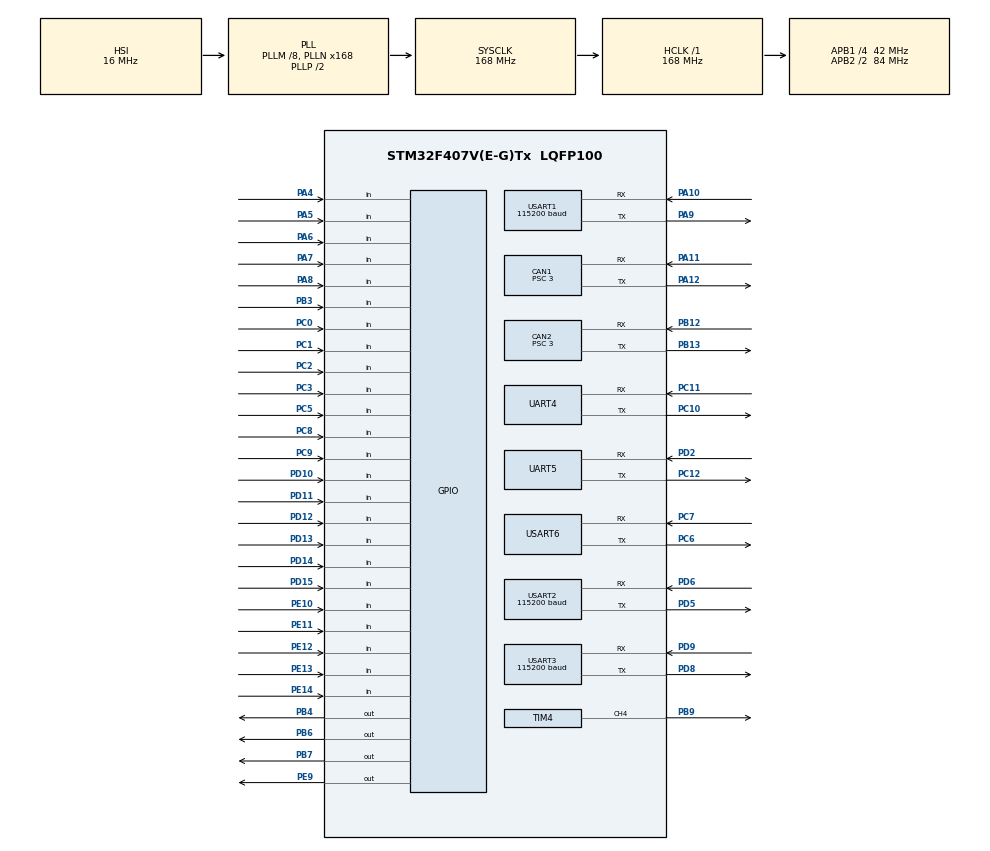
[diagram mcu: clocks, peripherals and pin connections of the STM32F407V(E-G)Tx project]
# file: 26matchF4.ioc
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CAN1.BS1=CAN_BS1_10TQ
CAN1.BS2=CAN_BS2_3TQ
CAN1.CalculateBaudRate=1000000
CAN1.CalculateTimeBit=1000
CAN1.CalculateTimeQuantum=71.42857142857143
CAN1.Prescaler=3
CAN2.BS1=CAN_BS1_10TQ
CAN2.BS2=CAN_BS2_3TQ
CAN2.CalculateBaudRate=1000000
CAN2.CalculateTimeBit=1000
CAN2.CalculateTimeQuantum=71.42857142857143
CAN2.Prescaler=3
Dma.Request0=USART2_RX
Dma.USART2_RX.0.Direction=DMA_PERIPH_TO_MEMORY
Dma.USART2_RX.0.FIFOMode=DMA_FIFOMODE_DISABLE
Dma.USART2_RX.0.Instance=DMA1_Stream5
Dma.USART2_RX.0.MemDataAlignment=DMA_MDATAALIGN_BYTE
Dma.USART2_RX.0.MemInc=DMA_MINC_ENABLE
Dma.USART2_RX.0.Mode=DMA_NORMAL
Dma.USART2_RX.0.PeriphDataAlignment=DMA_PDATAALIGN_BYTE
Dma.USART2_RX.0.PeriphInc=DMA_PINC_DISABLE
Dma.USART2_RX.0.Priority=DMA_PRIORITY_LOW
Mcu.Family=STM32F4
Mcu.Name=STM32F407V(E-G)Tx
Mcu.Package=LQFP100
NVIC.CAN1_RX0_IRQn=true\:1\:0\:true\:false\:true\:true\:true\:true
NVIC.CAN2_RX0_IRQn=true\:0\:0\:false\:false\:true\:true\:true\:true
NVIC.CAN2_RX1_IRQn=true\:0\:0\:false\:false\:true\:true\:true\:true
NVIC.DMA1_Stream5_IRQn=true\:0\:0\:false\:false\:true\:false\:true\:true
NVIC.PriorityGroup=NVIC_PRIORITYGROUP_4
NVIC.TIM2_IRQn=true\:1\:0\:true\:false\:true\:true\:true\:true
NVIC.TIM3_IRQn=true\:1\:0\:true\:false\:true\:true\:true\:true
NVIC.TIM4_IRQn=true\:0\:0\:false\:false\:true\:true\:true\:true
NVIC.UART4_IRQn=true\:0\:0\:true\:false\:true\:true\:true\:true
NVIC.USART1_IRQn=true\:1\:0\:true\:false\:true\:true\:true\:true
NVIC.USART2_IRQn=true\:0\:0\:true\:false\:true\:true\:true\:true
NVIC.USART3_IRQn=true\:0\:0\:false\:false\:true\:true\:true\:true
NVIC.USART6_IRQn=true\:0\:0\:true\:false\:true\:true\:true\:true
PA10.Mode=Asynchronous
PA10.Signal=USART1_RX
PA11.Mode=CAN_Activate
PA11.Signal=CAN1_RX
PA12.Mode=CAN_Activate
PA12.Signal=CAN1_TX
PA13.Mode=Serial_Wire
PA13.Signal=SYS_JTMS-SWDIO
PA14.Mode=Serial_Wire
PA14.Signal=SYS_JTCK-SWCLK
PA15.Signal=S_TIM2_CH1_ETR
PA4.Signal=GPIO_Input
PA5.Signal=GPIO_Input
PA6.Signal=GPIO_Input
PA7.Signal=GPIO_Input
PA8.GPIO_Mode=GPIO_MODE_INPUT
PA8.Signal=GPIO_Input
PA9.Mode=Asynchronous
PA9.Signal=USART1_TX
PB12.Mode=CAN_Activate
PB12.Signal=CAN2_RX
PB13.Mode=CAN_Activate
PB13.Signal=CAN2_TX
PB3.GPIO_PuPd=GPIO_PULLDOWN
PB3.Signal=GPIO_Input
PB4.GPIO_ModeDefaultOutputPP=GPIO_MODE_OUTPUT_PP
PB4.Signal=GPIO_Output
PB6.Signal=GPIO_Output
PB7.Signal=GPIO_Output
PB9.Signal=S_TIM4_CH4
PC0.Signal=GPIO_Input
PC1.Signal=GPIO_Input
PC10.Mode=Asynchronous
PC10.Signal=UART4_TX
PC11.Mode=Asynchronous
PC11.Signal=UART4_RX
PC12.Mode=Asynchronous
PC12.Signal=UART5_TX
PC14-OSC32_IN.Mode=LSE-External-Oscillator
PC14-OSC32_IN.Signal=RCC_OSC32_IN
PC15-OSC32_OUT.Mode=LSE-External-Oscillator
PC15-OSC32_OUT.Signal=RCC_OSC32_OUT
PC2.Signal=GPIO_Input
PC3.Signal=GPIO_Input
PC5.Signal=GPIO_Input
PC6.Mode=Asynchronous
PC6.Signal=USART6_TX
PC7.Mode=Asynchronous
PC7.Signal=USART6_RX
PC8.GPIO_Mode=GPIO_MODE_INPUT
PC8.Signal=GPIO_Input
PC9.GPIO_Mode=GPIO_MODE_INPUT
PC9.Signal=GPIO_Input
PD10.GPIO_Mode=GPIO_MODE_INPUT
PD10.Signal=GPIO_Input
PD11.GPIO_Mode=GPIO_MODE_INPUT
PD11.Signal=GPIO_Input
PD12.GPIO_Mode=GPIO_MODE_INPUT
PD12.Signal=GPIO_Input
PD13.Signal=GPIO_Input
PD14.GPIO_Mode=GPIO_MODE_INPUT
PD14.Signal=GPIO_Input
PD15.GPIO_Mode=GPIO_MODE_INPUT
PD15.Signal=GPIO_Input
PD2.Mode=Asynchronous
PD2.Signal=UART5_RX
PD5.Mode=Asynchronous
PD5.Signal=USART2_TX
PD6.GPIO_ModeDefaultPP=GPIO_MODE_AF_PP
PD6.Mode=Asynchronous
PD6.Signal=USART2_RX
PD8.Mode=Asynchronous
PD8.Signal=USART3_TX
PD9.Mode=Asynchronous
PD9.Signal=USART3_RX
PE10.Signal=GPIO_Input
PE11.Signal=GPIO_Input
PE12.Signal=GPIO_Input
PE13.Signal=GPIO_Input
PE14.Signal=GPIO_Input
PE9.Signal=GPIO_Output
PH0-OSC_IN.Mode=HSE-External-Oscillator
PH0-OSC_IN.Signal=RCC_OSC_IN
PH1-OSC_OUT.Mode=HSE-External-Oscillator
PH1-OSC_OUT.Signal=RCC_OSC_OUT
ProjectManager.HeapSize=0x200
ProjectManager.StackSize=0x400
ProjectManager.TargetToolchain=MDK-ARM V5.32
RCC.48MHZClocksFreq_Value=84000000
RCC.AHBFreq_Value=168000000
RCC.APB1CLKDivider=RCC_HCLK_DIV4
RCC.APB1Freq_Value=42000000
RCC.APB1TimFreq_Value=84000000
RCC.APB2CLKDivider=RCC_HCLK_DIV2
RCC.APB2Freq_Value=84000000
RCC.APB2TimFreq_Value=168000000
RCC.CortexFreq_Value=168000000
RCC.HCLKFreq_Value=168000000
RCC.HSE_VALUE=25000000
RCC.HSI_VALUE=16000000
RCC.PLLM=8
RCC.PLLN=168
RCC.SYSCLKFreq_VALUE=168000000
RCC.SYSCLKSource=RCC_SYSCLKSOURCE_PLLCLK
RCC.VCOOutputFreq_Value=336000000
SH.S_TIM2_CH1_ETR.0=TIM2_CH1
SH.S_TIM4_CH4.0=TIM4_CH4,PWM Generation4 CH4
TIM2.Period=20000-1
TIM2.Prescaler=84-1
TIM3.Period=100-1
TIM3.Prescaler=8400-1
TIM4.Channel-PWM\ Generation4\ CH4=TIM_CHANNEL_4
TIM4.Period=20000-1
TIM4.Prescaler=84-1
UART4.VirtualMode=Asynchronous
UART5.VirtualMode=Asynchronous
USART1.BaudRate=115200
USART1.VirtualMode=VM_ASYNC
USART2.BaudRate=115200
USART2.VirtualMode=VM_ASYNC
USART3.BaudRate=115200
USART3.VirtualMode=VM_ASYNC
USART6.VirtualMode=VM_ASYNC
VP_TIM2_VS_ClockSourceINT.Mode=Internal
VP_TIM3_VS_ClockSourceINT.Mode=Internal
VP_TIM4_VS_ClockSourceINT.Mode=Internal
board=custom

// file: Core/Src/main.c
/* USER CODE BEGIN Header */
/**
  ******************************************************************************
  * @file           : main.c
  * @brief          : Main program body
  ******************************************************************************
  * @attention
  *
  * Copyright (c) 2025 STMicroelectronics.
  * All rights reserved.
  *
  * This software is licensed under terms that can be found in the LICENSE file
  * in the root directory of this software component.
  * If no LICENSE file comes with this software, it is provided AS-IS.
  *
  ******************************************************************************
  */
/* USER CODE END Header */
#include "main.h"
#include "can.h"
#include "dma.h"
#include "tim.h"
#include "usart.h"
#include "gpio.h"

/* USER CODE BEGIN Includes */
#include "pid.h"
#include "user_lib.h"
#include "bsp_can.h"
#include "bsp_dwt.h"
#include "DJI_Motor.h"
#include "jy61p.h"
#include "chassis.h"
#include "sensor.h"
#include "task.h"
#include "motion_control.h"
#include "maixcam.h"
#include "route.h"
#include "OLED.h"
/* USER CODE END Includes */

/* USER CODE BEGIN PD */
#define MOTOR_SPEED_RPM_SET 3000
int i;
/* USER CODE END PD */

void SystemClock_Config(void);

int main(void)
{

  /* MCU Configuration--------------------------------------------------------*/

  /* Reset of all peripherals, Initializes the Flash interface and the Systick. */
  HAL_Init();

  /* Configure the system clock */
  SystemClock_Config();

  /* Initialize all configured peripherals */
  MX_GPIO_Init();
  MX_DMA_Init();
  MX_CAN1_Init();
  MX_TIM4_Init();
  MX_CAN2_Init();
  MX_USART1_UART_Init();
  MX_USART2_UART_Init();
  MX_USART3_UART_Init();
  MX_UART4_Init();
  MX_UART5_Init();
  MX_USART6_UART_Init();
  MX_TIM2_Init();
  MX_TIM3_Init();
  /* USER CODE BEGIN 2 */
  MX_GPIO_Init();
  MX_CAN1_Init();
  MX_USART1_UART_Init();
  MX_CAN2_Init();
  /* USER CODE BEGIN 2 */

  // TIM3：100 Hz 灰度查询；TIM4：50 Hz 球杆位置控制调度。
  Hal_Uart_Init();
	HAL_TIM_Base_Start_IT(&htim3);
	HAL_TIM_Base_Start_IT(&htim4);
  OLED_Init(); // 初始化OLED，只调用一次
  PID_Init();
  Hal_Uart_Init();
  DWT_Init(168);
  CAN_Config();
//	JY61P_BAUD();
	JY61P_START();
	// USART2已改为接收串口屏任务帧，不再发送WT101初始化命令。
  PID_Init_Config_s speed_config = {
      .MaxOut = 8000.0f,
      .IntegralLimit = 5000.0f,
      .Kp = 3.0f,
      .Ki = 0.05f,
		  .Kd = 0.01f,
	  .Output_LPF_RC = 0.0f,
      .Improve = (PID_Improvement_e)(PID_Integral_Limit | PID_OutputFilter)};

  PIDInit(&Motor1SpeedPID, &speed_config);
  PIDInit(&Motor2SpeedPID, &speed_config);
  PIDInit(&Motor3SpeedPID, &speed_config);
  PIDInit(&Motor4SpeedPID, &speed_config);
  DMMotorEnable(DM_PITCH_TX_ID,MIT_MODE);//电机使能
  DMMotorEnable(DM_Chassis1_TX_ID,SPEED_MODE);//底盘电机使能
  DMMotorEnable(DM_Chassis2_TX_ID,SPEED_MODE);
	HAL_Delay(100);
//	DM_SpeedControl(DM_Chassis1_TX_ID,MOTOR_ENABLE,-5);
//	DM_SpeedControl(DM_Chassis2_TX_ID,MOTOR_ENABLE,5);
  DM_Pitch_ReturnZero();//电机回0
  HAL_GPIO_WritePin(GPIOE, GPIO_PIN_9, GPIO_PIN_SET); //蜂鸣器
  HAL_Delay(100);
  HAL_GPIO_WritePin(GPIOE, GPIO_PIN_9, GPIO_PIN_RESET);
//	DMMotorZeroSet(DM_PITCH_TX_ID, MIT_MODE);
//  DM_MitControl(DM_PITCH_TX_ID,MOTOR_ENABLE, 0, 0, 2, 0.1, 0);//电机回0
  /* USER CODE END 2 */

  /* Infinite loop */
  while (1)
  {

    /* USER CODE BEGIN 3 */
    // 串口屏任务在主循环执行；任务3运行时，球杆控制由 TIM4 中断并行完成。
//		track_dynamic_Speed(8);
    task_switch();
    // 任务2到达标志由TIM4置位，目标点切换在主循环完成。
    task_2_update();
		//    DMMotorDisable(DM_PITCH_TX_ID,MIT_MODE);//失能读取电机角度
//		HAL_Delay(10);
//		OLED_ShowNum(1,1,1,1);//olde测试
  }
  /* USER CODE END 3 */
}

void SystemClock_Config(void)
{
  RCC_OscInitTypeDef RCC_OscInitStruct = {0};
  RCC_ClkInitTypeDef RCC_ClkInitStruct = {0};

  /** Configure the main internal regulator output voltage
  */
  __HAL_RCC_PWR_CLK_ENABLE();
  __HAL_PWR_VOLTAGESCALING_CONFIG(PWR_REGULATOR_VOLTAGE_SCALE1);

  /** Initializes the RCC Oscillators according to the specified parameters
  * in the RCC_OscInitTypeDef structure.
  */
  RCC_OscInitStruct.OscillatorType = RCC_OSCILLATORTYPE_HSI;
  RCC_OscInitStruct.HSIState = RCC_HSI_ON;
  RCC_OscInitStruct.HSICalibrationValue = RCC_HSICALIBRATION_DEFAULT;
  RCC_OscInitStruct.PLL.PLLState = RCC_PLL_ON;
  RCC_OscInitStruct.PLL.PLLSource = RCC_PLLSOURCE_HSI;
  RCC_OscInitStruct.PLL.PLLM = 8;
  RCC_OscInitStruct.PLL.PLLN = 168;
  RCC_OscInitStruct.PLL.PLLP = RCC_PLLP_DIV2;
  RCC_OscInitStruct.PLL.PLLQ = 4;
  if (HAL_RCC_OscConfig(&RCC_OscInitStruct) != HAL_OK)
  {
    Error_Handler();
  }

  /** Initializes the CPU, AHB and APB buses clocks
  */
  RCC_ClkInitStruct.ClockType = RCC_CLOCKTYPE_HCLK|RCC_CLOCKTYPE_SYSCLK
                              |RCC_CLOCKTYPE_PCLK1|RCC_CLOCKTYPE_PCLK2;
  RCC_ClkInitStruct.SYSCLKSource = RCC_SYSCLKSOURCE_PLLCLK;
  RCC_ClkInitStruct.AHBCLKDivider = RCC_SYSCLK_DIV1;
  RCC_ClkInitStruct.APB1CLKDivider = RCC_HCLK_DIV4;
  RCC_ClkInitStruct.APB2CLKDivider = RCC_HCLK_DIV2;

  if (HAL_RCC_ClockConfig(&RCC_ClkInitStruct, FLASH_LATENCY_5) != HAL_OK)
  {
    Error_Handler();
  }
}

void Error_Handler(void)
{
  __disable_irq();
  while (1)
  {
  }
}
